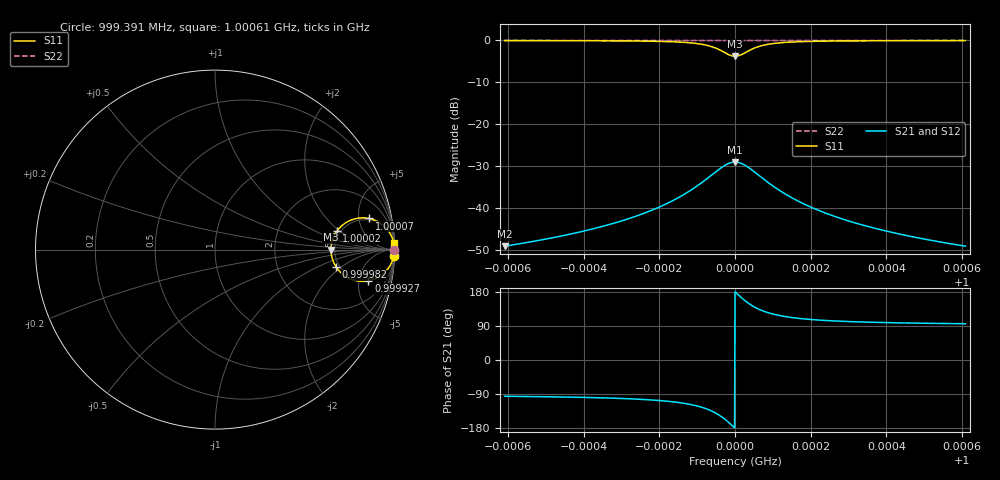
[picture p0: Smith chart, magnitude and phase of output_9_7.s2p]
! File generated for n1 = 9, n2 = 7
! b1 = 0.215443
! b2 = 0.002154
! Q0 = 10000.000000
! f0 = 1000000000.000000
! n = 1001
! rel_span = 10.000000
# Hz S RI R 50
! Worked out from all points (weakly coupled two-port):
!   1001 points, 999.391 MHz to 1.00061 GHz, reference 50 ohm
!   highest |S21| = -29.02 dB at 1 GHz (marker M1); lowest = -49.1 dB at 999.391 MHz (marker M2)
!   lowest |S11| = -3.8 dB at 1 GHz (marker M3), VSWR 4.65, Z = 233 + j0 ohm
!   |S11| at or under -10 dB: nowhere
!   |S22| runs from 0.0 to 0.0 dB; largest |S21 - S12| = 0
!   S11 on the Smith chart (normalised r, x): 999.391 MHz: 5, -57; 999.927 MHz: 4.65, -6.78; 999.982 MHz: 4.65, -1.70; 1.00002 GHz: 4.65, +1.81; 1.00007 GHz: 4.65, +6.89; 1.00061 GHz: 5, +56
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9.993912e8  0.9965 -0.035  -0.00035 -0.0035  -0.00035 -0.0035  1 -0.00035
9.994959e8  0.9949 -0.0421  -0.000509 -0.00421  -0.000509 -0.00421  0.9999 -0.000421
9.995945e8  0.9922 -0.052  -0.00078 -0.0052  -0.00078 -0.0052  0.9999 -0.00052
9.997066e8  0.9854 -0.0704  -0.00146 -0.00704  -0.00146 -0.00704  0.9999 -0.000704
9.997979e8  0.9706 -0.0977  -0.00294 -0.00977  -0.00294 -0.00977  0.9997 -0.000977
9.998758e8  0.9314 -0.1399  -0.00686 -0.014  -0.00686 -0.014  0.9993 -0.0014
9.999038e8  0.8988 -0.1599  -0.0101 -0.016  -0.0101 -0.016  0.999 -0.0016
9.999269e8  0.855 -0.174  -0.0145 -0.0174  -0.0145 -0.0174  0.9985 -0.00174
9.999574e8  0.7625 -0.1663  -0.0238 -0.0166  -0.0238 -0.0166  0.9976 -0.00166
9.999696e8  0.7169 -0.1416  -0.0283 -0.0142  -0.0283 -0.0142  0.9972 -0.00142
9.999817e8  0.6753 -0.0974  -0.0325 -0.00974  -0.0325 -0.00974  0.9968 -0.000974
1e9  0.6461 0  -0.0354 0  -0.0354 0  0.9965 0
1.000019e9  0.679 0.1027  -0.0321 0.0103  -0.0321 0.0103  0.9968 0.00103
1.000043e9  0.7625 0.1663  -0.0238 0.0166  -0.0238 0.0166  0.9976 0.00166
1.000074e9  0.8578 0.1735  -0.0142 0.0174  -0.0142 0.0174  0.9986 0.00174
1.000097e9  0.9006 0.1591  -0.00994 0.0159  -0.00994 0.0159  0.999 0.00159
1.000125e9  0.9325 0.139  -0.00675 0.0139  -0.00675 0.0139  0.9993 0.00139
1.000203e9  0.9709 0.0972  -0.00291 0.00972  -0.00291 0.00972  0.9997 0.000972
1.000295e9  0.9855 0.0701  -0.00145 0.00701  -0.00145 0.00701  0.9999 0.000701
1.000407e9  0.9922 0.0518  -0.000776 0.00518  -0.000776 0.00518  0.9999 0.000518
1.000505e9  0.9949 0.042  -0.000507 0.0042  -0.000507 0.0042  0.9999 0.00042
1.000609e9  0.9965 0.035  -0.000351 0.0035  -0.000351 0.0035  1 0.00035
